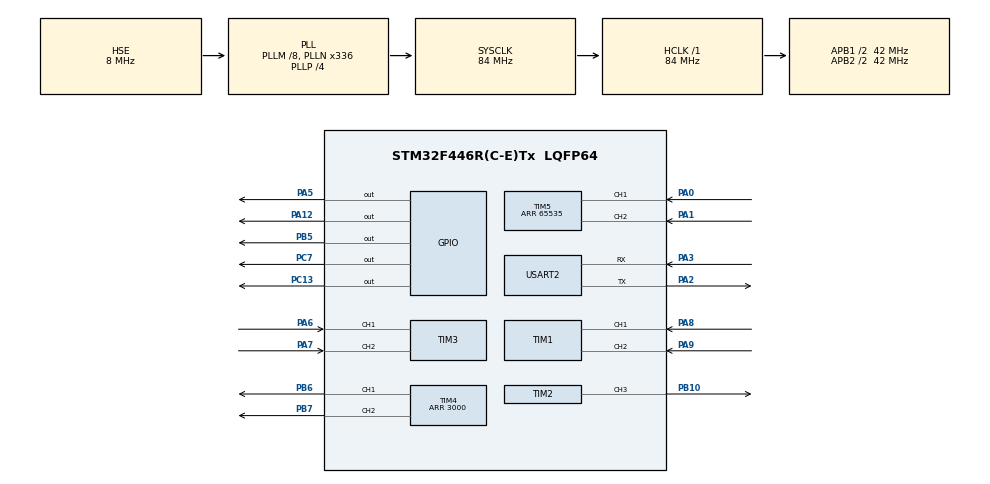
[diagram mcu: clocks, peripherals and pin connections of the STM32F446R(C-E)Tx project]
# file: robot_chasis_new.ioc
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Dma.Request0=USART2_RX
Dma.Request1=USART2_TX
Dma.USART2_RX.0.Direction=DMA_PERIPH_TO_MEMORY
Dma.USART2_RX.0.FIFOMode=DMA_FIFOMODE_DISABLE
Dma.USART2_RX.0.Instance=DMA1_Stream5
Dma.USART2_RX.0.MemDataAlignment=DMA_MDATAALIGN_BYTE
Dma.USART2_RX.0.MemInc=DMA_MINC_ENABLE
Dma.USART2_RX.0.Mode=DMA_CIRCULAR
Dma.USART2_RX.0.PeriphDataAlignment=DMA_PDATAALIGN_BYTE
Dma.USART2_RX.0.PeriphInc=DMA_PINC_DISABLE
Dma.USART2_RX.0.Priority=DMA_PRIORITY_LOW
Dma.USART2_TX.1.Direction=DMA_MEMORY_TO_PERIPH
Dma.USART2_TX.1.FIFOMode=DMA_FIFOMODE_DISABLE
Dma.USART2_TX.1.Instance=DMA1_Stream6
Dma.USART2_TX.1.MemDataAlignment=DMA_MDATAALIGN_BYTE
Dma.USART2_TX.1.MemInc=DMA_MINC_ENABLE
Dma.USART2_TX.1.Mode=DMA_NORMAL
Dma.USART2_TX.1.PeriphDataAlignment=DMA_PDATAALIGN_BYTE
Dma.USART2_TX.1.PeriphInc=DMA_PINC_DISABLE
Dma.USART2_TX.1.Priority=DMA_PRIORITY_LOW
Mcu.Family=STM32F4
Mcu.Name=STM32F446R(C-E)Tx
Mcu.Package=LQFP64
NVIC.DMA1_Stream5_IRQn=true\:0\:0\:false\:false\:true\:false\:true\:true
NVIC.DMA1_Stream6_IRQn=true\:0\:0\:false\:false\:true\:false\:true\:true
NVIC.PriorityGroup=NVIC_PRIORITYGROUP_0
NVIC.TIM1_UP_TIM10_IRQn=true\:0\:0\:false\:false\:true\:true\:true\:true
NVIC.TIM3_IRQn=true\:0\:0\:false\:false\:true\:true\:true\:true
NVIC.TIM5_IRQn=true\:0\:0\:false\:false\:true\:true\:true\:true
NVIC.USART2_IRQn=true\:0\:0\:false\:false\:true\:true\:true\:true
PA0-WKUP.Signal=S_TIM5_CH1
PA1.Signal=S_TIM5_CH2
PA12.Signal=GPIO_Output
PA2.Mode=Asynchronous
PA2.Signal=USART2_TX
PA3.Mode=Asynchronous
PA3.Signal=USART2_RX
PA5.Signal=GPIO_Output
PA6.Signal=S_TIM3_CH1
PA7.Signal=S_TIM3_CH2
PA8.Signal=S_TIM1_CH1
PA9.Signal=S_TIM1_CH2
PB10.Signal=S_TIM2_CH3
PB5.Signal=GPIO_Output
PB6.Signal=S_TIM4_CH1
PB7.Signal=S_TIM4_CH2
PC13.Signal=GPIO_Output
PC7.Signal=GPIO_Output
PH0-OSC_IN.Mode=HSE-External-Clock-Source
PH0-OSC_IN.Signal=RCC_OSC_IN
PH1-OSC_OUT.Mode=HSE-External-Clock-Source
PH1-OSC_OUT.Signal=RCC_OSC_OUT
ProjectManager.HeapSize=0x200
ProjectManager.StackSize=0x400
ProjectManager.TargetToolchain=STM32CubeIDE
RCC.AHBFreq_Value=84000000
RCC.APB1CLKDivider=RCC_HCLK_DIV2
RCC.APB1Freq_Value=42000000
RCC.APB1TimFreq_Value=84000000
RCC.APB2CLKDivider=RCC_HCLK_DIV2
RCC.APB2Freq_Value=42000000
RCC.APB2TimFreq_Value=84000000
RCC.CortexFreq_Value=84000000
RCC.FLatency-AdvancedSettings=FLASH_LATENCY_2
RCC.HCLKFreq_Value=84000000
RCC.HSE_VALUE=8000000
RCC.HSI_VALUE=16000000
RCC.LSE_VALUE=32768
RCC.PLLM=8
RCC.PLLN=336
RCC.PLLP=RCC_PLLP_DIV4
RCC.PLLSourceVirtual=RCC_PLLSOURCE_HSE
RCC.SYSCLKFreq_VALUE=84000000
RCC.SYSCLKSource=RCC_SYSCLKSOURCE_PLLCLK
RCC.USBFreq_Value=168000000
RCC.VCOOutputFreq_Value=336000000
SH.S_TIM1_CH1.0=TIM1_CH1,Encoder_Interface
SH.S_TIM1_CH2.0=TIM1_CH2,Encoder_Interface
SH.S_TIM2_CH3.0=TIM2_CH3,PWM Generation3 CH3
SH.S_TIM3_CH1.0=TIM3_CH1,Encoder_Interface
SH.S_TIM3_CH2.0=TIM3_CH2,Encoder_Interface
SH.S_TIM4_CH1.0=TIM4_CH1,PWM Generation1 CH1
SH.S_TIM4_CH2.0=TIM4_CH2,PWM Generation2 CH2
SH.S_TIM5_CH1.0=TIM5_CH1,Encoder_Interface
SH.S_TIM5_CH2.0=TIM5_CH2,Encoder_Interface
TIM1.EncoderMode=TIM_ENCODERMODE_TI12
TIM10.Period=60000
TIM10.Prescaler=13
TIM2.Channel-PWM\ Generation3\ CH3=TIM_CHANNEL_3
TIM2.Period=3000
TIM3.EncoderMode=TIM_ENCODERMODE_TI12
TIM4.Channel-PWM\ Generation1\ CH1=TIM_CHANNEL_1
TIM4.Channel-PWM\ Generation2\ CH2=TIM_CHANNEL_2
TIM4.Period=3000
TIM5.EncoderMode=TIM_ENCODERMODE_TI12
TIM5.Period=65535
USART2.VirtualMode=VM_ASYNC
VP_TIM10_VS_ClockSourceINT.Mode=Enable_Timer
board=NUCLEO-F446RE

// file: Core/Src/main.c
/* USER CODE BEGIN Header */
/**
  ******************************************************************************
  * @file           : main.c
  * @brief          : Main program body
  ******************************************************************************
  * @attention
  *
  * Copyright (c) 2023 STMicroelectronics.
  * All rights reserved.
  *
  * This software is licensed under terms that can be found in the LICENSE file
  * in the root directory of this software component.
  * If no LICENSE file comes with this software, it is provided AS-IS.
  *
  ******************************************************************************
  */
/* USER CODE END Header */
#include "main.h"
#include "dma.h"
#include "tim.h"
#include "usart.h"
#include "gpio.h"

/* USER CODE BEGIN PD */

// make sure STM works
#define LED1_pin_type GPIOA
#define LED1_pin_num GPIO_PIN_5

// make sure rosserial works
#define LED2_pin_type GPIOA
#define LED2_pin_num GPIO_PIN_12

/* USER CODE END PD */

/* USER CODE BEGIN PM */
int a;
/* USER CODE END PM */

void SystemClock_Config(void);
/* USER CODE BEGIN PFP */
void LED_Init(void);
/* USER CODE END PFP */

int main(void)
{

  /* MCU Configuration--------------------------------------------------------*/

  /* Reset of all peripherals, Initializes the Flash interface and the Systick. */
  HAL_Init();

  /* Configure the system clock */
  SystemClock_Config();

  /* Initialize all configured peripherals */
  MX_GPIO_Init();
  MX_DMA_Init();
  MX_USART2_UART_Init();
  MX_TIM1_Init();
  MX_TIM2_Init();
  MX_TIM3_Init();
  MX_TIM4_Init();
  MX_TIM5_Init();
  MX_TIM10_Init();
  /* USER CODE BEGIN 2 */
  a = 0;
  HAL_TIM_Base_Start_IT(&Encoder_Interrupt_timer);
  Control_Init();
  Rosserial_Init();
  LED_Init();
  /* USER CODE END 2 */

  /* Infinite loop */
  /* USER CODE BEGIN WHILE */
  int count_for_stmLED = 0, count_for_serialLED = 0;
  while (1)
  {
  	count_for_stmLED++;
   	count_for_serialLED++;
  	if(count_for_stmLED == 1400000)
  	{
    	HAL_GPIO_TogglePin(LED1_pin_type, LED1_pin_num);
    	count_for_stmLED = 0;
  	}
		if (count_for_serialLED == 1400000)
		{
			if(Rosserial_Checkconfigstate() == true)
			{
				HAL_GPIO_TogglePin (LED2_pin_type, LED2_pin_num);
			}
			else
			{
				HAL_GPIO_WritePin(LED2_pin_type, LED2_pin_num, GPIO_PIN_RESET);
			}

			count_for_serialLED = 0;
		}
    /* USER CODE END WHILE */

  }
}

void SystemClock_Config(void)
{
  RCC_OscInitTypeDef RCC_OscInitStruct = {0};
  RCC_ClkInitTypeDef RCC_ClkInitStruct = {0};

  /** Configure the main internal regulator output voltage
  */
  __HAL_RCC_PWR_CLK_ENABLE();
  __HAL_PWR_VOLTAGESCALING_CONFIG(PWR_REGULATOR_VOLTAGE_SCALE3);

  /** Initializes the RCC Oscillators according to the specified parameters
  * in the RCC_OscInitTypeDef structure.
  */
  RCC_OscInitStruct.OscillatorType = RCC_OSCILLATORTYPE_HSE;
  RCC_OscInitStruct.HSEState = RCC_HSE_BYPASS;
  RCC_OscInitStruct.PLL.PLLState = RCC_PLL_ON;
  RCC_OscInitStruct.PLL.PLLSource = RCC_PLLSOURCE_HSE;
  RCC_OscInitStruct.PLL.PLLM = 8;
  RCC_OscInitStruct.PLL.PLLN = 336;
  RCC_OscInitStruct.PLL.PLLP = RCC_PLLP_DIV4;
  RCC_OscInitStruct.PLL.PLLQ = 2;
  RCC_OscInitStruct.PLL.PLLR = 2;
  if (HAL_RCC_OscConfig(&RCC_OscInitStruct) != HAL_OK)
  {
    Error_Handler();
  }

  /** Initializes the CPU, AHB and APB buses clocks
  */
  RCC_ClkInitStruct.ClockType = RCC_CLOCKTYPE_HCLK|RCC_CLOCKTYPE_SYSCLK
                              |RCC_CLOCKTYPE_PCLK1|RCC_CLOCKTYPE_PCLK2;
  RCC_ClkInitStruct.SYSCLKSource = RCC_SYSCLKSOURCE_PLLCLK;
  RCC_ClkInitStruct.AHBCLKDivider = RCC_SYSCLK_DIV1;
  RCC_ClkInitStruct.APB1CLKDivider = RCC_HCLK_DIV2;
  RCC_ClkInitStruct.APB2CLKDivider = RCC_HCLK_DIV2;

  if (HAL_RCC_ClockConfig(&RCC_ClkInitStruct, FLASH_LATENCY_2) != HAL_OK)
  {
    Error_Handler();
  }
}

/* USER CODE BEGIN 4 */
void HAL_TIM_PeriodElapsedCallback(TIM_HandleTypeDef *htim)
{

	if(htim->Instance == Encoder_Interrupt_timer.Instance)
	{
//		WheelA.goal = 0.0;
//		WheelB.goal = 0.0;
//		WheelC.goal = 0.0;

		a++;
		Rosserial_Spin();
		if (Rosserial_Checkconfigstate() == false)
		{
			linearvelocity_x = 0.0;
			linearvelocity_y = 0.0;
			angularvelocity = 0.0;
		}
		Forward_Kinematics(linearvelocity_x, linearvelocity_y, angularvelocity);
		PID_Controller(&WheelA);
		PID_Controller(&WheelB);
		PID_Controller(&WheelC);
	}

}

void LED_Init(void)
{
	HAL_GPIO_WritePin(LED1_pin_type, LED1_pin_num, GPIO_PIN_RESET);
	HAL_GPIO_WritePin(LED2_pin_type, LED2_pin_num, GPIO_PIN_RESET);
}

void HAL_UART_ErrorCallback(UART_HandleTypeDef *huart)
{
	if(huart == &huart2)
	{
		linearvelocity_x = 0;
		linearvelocity_y = 0;
		angularvelocity = 0;
		HAL_UART_DeInit(&huart2);
		MX_USART2_UART_Init();
		Rosserial_GetHardware();
	}
}
/* USER CODE END 4 */

void Error_Handler(void)
{
  __disable_irq();
  while (1)
  {
  }
}
